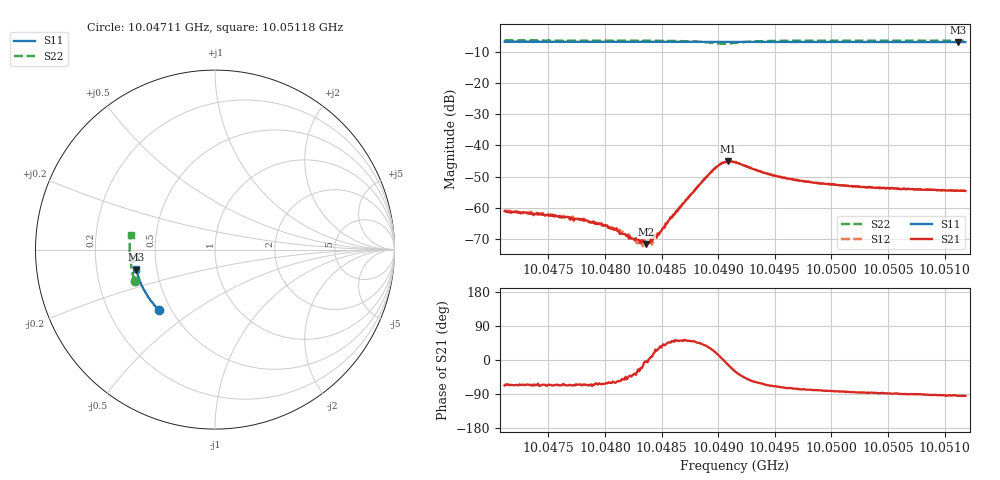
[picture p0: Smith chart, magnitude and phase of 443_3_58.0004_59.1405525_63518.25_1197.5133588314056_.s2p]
#  HZ  S  RI  R  50.00
! Rohde & Schwarz Vector Network Analyzer
! Rohde-Schwarz,ZNB20-2Port,1311601062101988,3.16
! Created: UTC 3/21/2024, 1:10:09 AM
! freq[Hz]  re:S11  im:S11  re:S21  im:S21  re:S12  im:S12  re:S22  im:S22
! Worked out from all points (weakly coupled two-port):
!   401 points, 10.04711 GHz to 10.05118 GHz, reference 50 ohm
!   highest |S21| = -45.15 dB at 10.04909 GHz (marker M1); lowest = -71.7 dB at 10.04836 GHz (marker M2)
!   lowest |S11| = -6.9 dB at 10.05112 GHz (marker M3), VSWR 2.65, Z = 19.1 - j5.34 ohm
!   |S11| at or under -10 dB: nowhere
!   |S22| runs from -7.4 to -6.4 dB; largest |S21 - S12| = 0.0004
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1.0047114e10  -0.3112 -0.3377  0.000344 -0.000823  0.000471 -0.000794  -0.4472 -0.1733
1.0047429e10  -0.3259 -0.3227  0.000302 -0.000721  0.000382 -0.000702  -0.454 -0.1529
1.0047795e10  -0.3419 -0.3045  0.000251 -0.000593  0.000295 -0.000564  -0.4605 -0.1284
1.0047836e10  -0.3434 -0.3024  0.000251 -0.000572  0.00032 -0.000556  -0.4612 -0.1255
1.0048009e10  -0.3507 -0.2935  0.000243 -0.000449  0.000282 -0.000443  -0.4636 -0.1133
1.00481e10  -0.3543 -0.2889  0.000247 -0.000402  0.000272 -0.000348  -0.4649 -0.1069
1.0048141e10  -0.3561 -0.2865  0.000223 -0.000314  0.000279 -0.000313  -0.4653 -0.1039
1.0048294e10  -0.362 -0.2788  0.00029 -0.000133  0.000237 -0.000133  -0.4667 -0.0923
1.0048365e10  -0.3647 -0.2747  0.000261 -1.5e-05  0.000274 -1.32e-05  -0.4673 -0.0866
1.0048406e10  -0.3662 -0.2726  0.000315 4.58e-05  0.000307 6.18e-05  -0.4674 -0.0831
1.0048477e10  -0.3688 -0.2688  0.00032 0.000193  0.000297 0.000245  -0.4674 -0.0772
1.0048579e10  -0.3726 -0.2631  0.000488 0.000508  0.000444 0.000505  -0.4668 -0.068
1.0048935e10  -0.385 -0.2431  0.00323 0.00184  0.00311 0.00202  -0.4408 -0.0362
1.0049016e10  -0.3874 -0.2386  0.0049 0.000755  0.00489 0.00107  -0.4265 -0.0434
1.0049087e10  -0.3896 -0.2348  0.00539 -0.00121  0.00549 -0.000914  -0.4252 -0.0588
1.0049148e10  -0.3915 -0.2314  0.00461 -0.00269  0.00484 -0.0024  -0.4343 -0.0675
1.0049494e10  -0.4025 -0.2114  0.00116 -0.00307  0.00134 -0.00303  -0.4696 -0.0441
1.004983e10  -0.412 -0.1915  0.000496 -0.0025  0.000623 -0.00246  -0.4752 -0.0158
1.0050257e10  -0.4222 -0.1654  0.000148 -0.00216  0.000292 -0.00216  -0.4761 0.0158
1.0050511e10  -0.4277 -0.1497  5.18e-05 -0.00203  0.000157 -0.00205  -0.4751 0.0336
1.0051122e10  -0.4382 -0.1111  -0.000143 -0.00188  -4.14e-05 -0.00188  -0.4702 0.0748
1.0051183e10  -0.4393 -0.1073  -0.000154 -0.00185  -7.66e-05 -0.00188  -0.4697 0.0789
